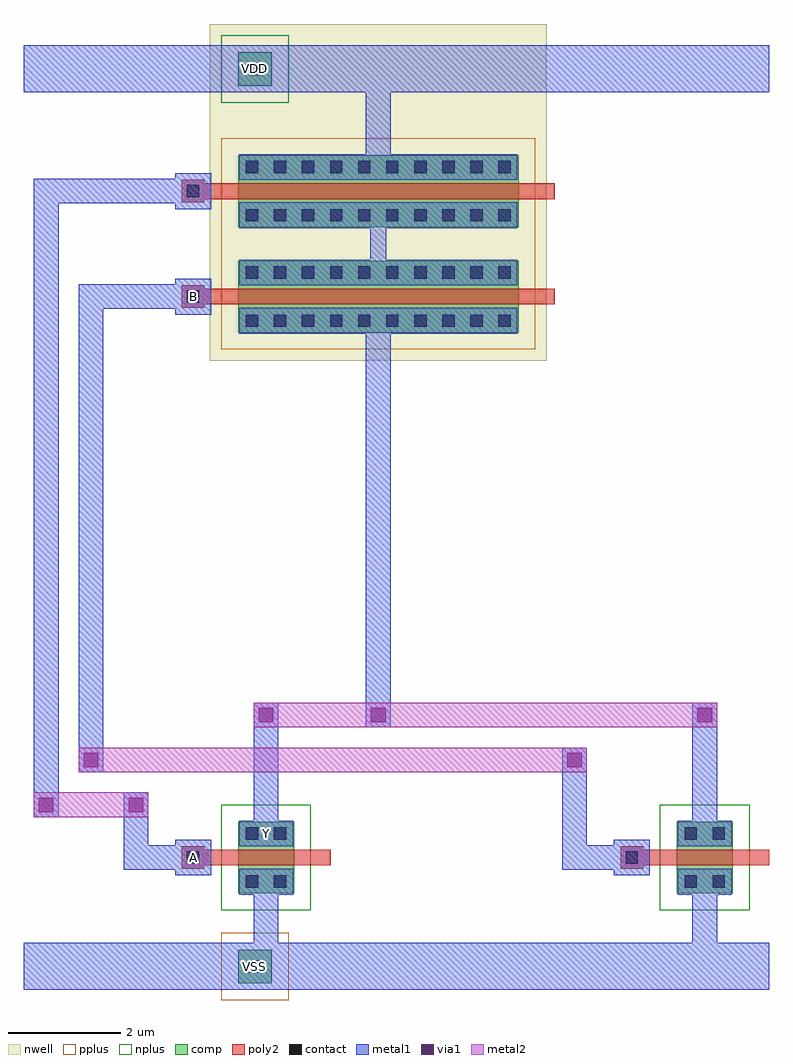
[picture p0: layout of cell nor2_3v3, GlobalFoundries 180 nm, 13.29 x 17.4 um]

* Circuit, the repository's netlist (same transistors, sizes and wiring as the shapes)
* Extracted by KLayout with GF180MCU LVS runset on : 09/09/2026 01:18

.SUBCKT nor2_3v3 VSS A B Y VDD
M$1 VDD A \$8 VDD pfet_03v3 L=0.28U W=5U AS=2.5P AD=2.5P PS=11U PD=11U
M$2 \$8 B Y VDD pfet_03v3 L=0.28U W=5U AS=2.5P AD=2.5P PS=11U PD=11U
M$3 Y B VSS VSS nfet_03v3 L=0.28U W=1U AS=0.5P AD=0.5P PS=3U PD=3U
M$4 Y A VSS VSS nfet_03v3 L=0.28U W=1U AS=0.5P AD=0.5P PS=3U PD=3U
.ENDS nor2_3v3

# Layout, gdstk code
import gdstk
lib = gdstk.Library(unit=1e-6, precision=1e-09)
def R(c, l, rs):  # rectangles x0, y0, x1, y1
    for r in rs: c.add(gdstk.rectangle(r[:2], r[2:], *l))
def A(c, l, x, y, w, h, nx, ny, dx, dy):  # array of equal rectangles
    R(c, l, [(x+i*dx, y+j*dy, x+i*dx+w, y+j*dy+h) for i in range(nx) for j in range(ny)])
nwell = (21, 0)
comp = (22, 0)
poly2 = (30, 0)
pplus = (31, 0)
nplus = (32, 0)
contact = (33, 0)
metal1 = (34, 0)
via1 = (35, 0)
metal2 = (36, 0)

nor2_3v3 = lib.new_cell('nor2_3v3')
R(nor2_3v3, nwell, [(3.32,9.5,9.32,15.5)])
R(nor2_3v3, comp, [(3.82,-1.6,4.42,-1), (3.82,0,4.82,1.28), (11.64,0,12.64,1.28), (3.82,10,8.82,11.28), (3.82,11.88,8.82,13.16), (3.82,14.4,4.42,15)])
R(nor2_3v3, poly2, [(2.82,0.44,3.22,0.84), (10.64,0.44,11.04,0.84), (3.17,0.5,5.47,0.78), (10.99,0.5,13.29,0.78), (2.82,10.44,3.22,10.84), (3.17,10.5,9.47,10.78), (2.82,12.32,3.22,12.72), (3.17,12.38,9.47,12.66)])
R(nor2_3v3, pplus, [(3.52,-1.9,4.72,-0.7), (3.52,9.7,9.12,11.58), (3.52,11.58,9.12,13.46)])
R(nor2_3v3, nplus, [(3.52,-0.3,5.12,1.58), (11.34,-0.3,12.94,1.58), (3.52,14.1,4.72,15.3)])
A(nor2_3v3, contact, 3.96, 10.1, 0.22, 0.22, 10, 2, 0.5, 0.86)
A(nor2_3v3, contact, 3.96, 11.98, 0.22, 0.22, 10, 2, 0.5, 0.86)
R(nor2_3v3, contact, [(4.01,-1.41,4.23,-1.19), (3.96,0.1,4.18,0.32), (4.46,0.1,4.68,0.32), (11.78,0.1,12,0.32), (12.28,0.1,12.5,0.32), (2.91,0.53,3.13,0.75), (10.73,0.53,10.95,0.75), (3.96,0.96,4.18,1.18), (4.46,0.96,4.68,1.18), (11.78,0.96,12,1.18), (12.28,0.96,12.5,1.18), (2.91,10.53,3.13,10.75), (2.91,12.41,3.13,12.63), (4.01,14.59,4.23,14.81)])
R(nor2_3v3, metal1, [(0,-1.72,13.29,-0.88), (3.7,-1.72,4.54,-0.88), (4.1,-1.3,4.54,0.44), (11.92,-1.3,12.36,0.44), (3.84,-0.02,4.8,0.44), (11.66,-0.02,12.62,0.44), (2.7,0.32,3.34,0.96), (10.52,0.32,11.16,0.96), (1.78,0.42,3.34,0.86), (9.6,0.42,11.16,0.86), (1.78,0.64,2.22,1.58), (9.6,0.64,10.04,2.38), (3.84,0.84,4.8,1.3), (4.1,0.84,4.54,3.18), (11.66,0.84,12.62,1.3), (11.92,0.84,12.36,3.18), (0.18,1.36,0.62,1.8), (1.78,1.36,2.22,1.8), (0.18,1.58,0.62,12.52), (0.98,2.16,1.42,2.6), (9.6,2.16,10.04,2.6), (0.98,2.38,1.42,10.64), (4.1,2.96,4.54,3.4), (6.1,2.96,6.54,3.4), (11.92,2.96,12.36,3.4), (6.1,3.18,6.54,10.44), (3.84,9.98,8.8,10.44), (2.7,10.32,3.34,10.96), (0.98,10.42,3.34,10.86), (3.84,10.84,8.8,11.3), (6.18,11.3,6.46,11.86), (3.84,11.86,8.8,12.32), (2.7,12.2,3.34,12.84), (0.18,12.3,3.34,12.74), (3.84,12.72,8.8,13.18), (6.1,12.72,6.54,14.7), (0,14.28,13.29,15.12), (3.7,14.28,4.54,15.12)])
R(nor2_3v3, via1, [(0.27,1.45,0.53,1.71), (1.87,1.45,2.13,1.71), (1.07,2.25,1.33,2.51), (9.69,2.25,9.95,2.51), (4.19,3.05,4.45,3.31), (6.19,3.05,6.45,3.31), (12.01,3.05,12.27,3.31)])
R(nor2_3v3, metal2, [(0.18,1.36,0.62,1.8), (0.18,1.36,2.22,1.8), (1.78,1.36,2.22,1.8), (0.98,2.16,1.42,2.6), (0.98,2.16,10.04,2.6), (9.6,2.16,10.04,2.6), (4.1,2.96,4.54,3.4), (4.1,2.96,12.36,3.4), (6.1,2.96,6.54,3.4), (11.92,2.96,12.36,3.4)])
nor2_3v3.add(gdstk.Label('A', (3.02,0.64), layer=34, texttype=10))
nor2_3v3.add(gdstk.Label('B', (3.02,10.64), layer=34, texttype=10))
nor2_3v3.add(gdstk.Label('Y', (4.32,1.07), layer=34, texttype=10))
nor2_3v3.add(gdstk.Label('VSS', (4.12,-1.3), layer=34, texttype=10))
nor2_3v3.add(gdstk.Label('VDD', (4.12,14.7), layer=34, texttype=10))

lib.write_gds('nor2_3v3.gds')
